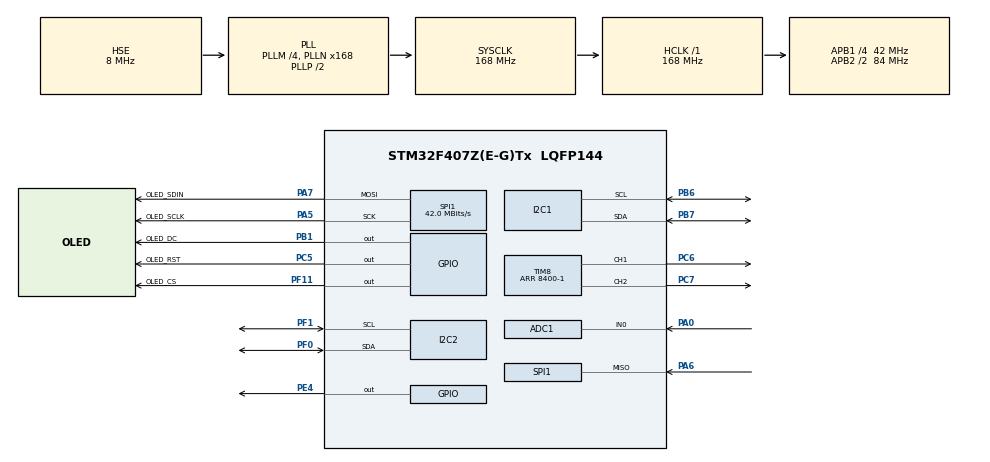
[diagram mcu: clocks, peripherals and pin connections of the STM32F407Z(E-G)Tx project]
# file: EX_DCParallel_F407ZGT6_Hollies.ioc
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ADC1.Channel-0\#ChannelRegularConversion=ADC_CHANNEL_0
ADC1.ContinuousConvMode=ENABLE
ADC1.DMAContinuousRequests=ENABLE
ADC1.NbrOfConversion=1
ADC1.NbrOfConversionFlag=1
ADC1.Rank-0\#ChannelRegularConversion=1
ADC1.SamplingTime-0\#ChannelRegularConversion=ADC_SAMPLETIME_28CYCLES
ADC1.master=1
Dma.ADC1.0.Direction=DMA_PERIPH_TO_MEMORY
Dma.ADC1.0.FIFOMode=DMA_FIFOMODE_DISABLE
Dma.ADC1.0.Instance=DMA2_Stream0
Dma.ADC1.0.MemDataAlignment=DMA_MDATAALIGN_WORD
Dma.ADC1.0.MemInc=DMA_MINC_ENABLE
Dma.ADC1.0.Mode=DMA_CIRCULAR
Dma.ADC1.0.PeriphDataAlignment=DMA_PDATAALIGN_WORD
Dma.ADC1.0.PeriphInc=DMA_PINC_DISABLE
Dma.ADC1.0.Priority=DMA_PRIORITY_LOW
Dma.Request0=ADC1
Mcu.Family=STM32F4
Mcu.Name=STM32F407Z(E-G)Tx
Mcu.Package=LQFP144
NVIC.DMA2_Stream0_IRQn=true\:0\:0\:false\:false\:true\:false\:true\:true
NVIC.PriorityGroup=NVIC_PRIORITYGROUP_4
NVIC.TIM1_UP_TIM10_IRQn=true\:0\:0\:false\:false\:true\:true\:true\:true
PA0-WKUP.Signal=ADCx_IN0
PA13.Mode=Serial_Wire
PA13.Signal=SYS_JTMS-SWDIO
PA14.Mode=Serial_Wire
PA14.Signal=SYS_JTCK-SWCLK
PA5.GPIO_Label=OLED_SCLK
PA5.Mode=Full_Duplex_Master
PA5.Signal=SPI1_SCK
PA6.Mode=Full_Duplex_Master
PA6.Signal=SPI1_MISO
PA7.GPIO_Label=OLED_SDIN
PA7.Mode=Full_Duplex_Master
PA7.Signal=SPI1_MOSI
PB1.GPIO_Label=OLED_DC
PB1.Signal=GPIO_Output
PB6.Mode=I2C
PB6.Signal=I2C1_SCL
PB7.Mode=I2C
PB7.Signal=I2C1_SDA
PC14-OSC32_IN.Mode=LSE-External-Oscillator
PC14-OSC32_IN.Signal=RCC_OSC32_IN
PC15-OSC32_OUT.Mode=LSE-External-Oscillator
PC15-OSC32_OUT.Signal=RCC_OSC32_OUT
PC5.GPIO_Label=OLED_RST
PC5.Signal=GPIO_Output
PC6.Signal=S_TIM8_CH1
PC7.Signal=S_TIM8_CH2
PE4.GPIO_PuPd=GPIO_PULLUP
PE4.PinState=GPIO_PIN_SET
PE4.Signal=GPIO_Output
PF0.Mode=I2C
PF0.Signal=I2C2_SDA
PF1.Mode=I2C
PF1.Signal=I2C2_SCL
PF11.GPIO_Label=OLED_CS
PF11.Signal=GPIO_Output
PH0-OSC_IN.Mode=HSE-External-Oscillator
PH0-OSC_IN.Signal=RCC_OSC_IN
PH1-OSC_OUT.Mode=HSE-External-Oscillator
PH1-OSC_OUT.Signal=RCC_OSC_OUT
ProjectManager.HeapSize=0x200
ProjectManager.StackSize=0x400
ProjectManager.TargetToolchain=STM32CubeIDE
RCC.48MHZClocksFreq_Value=84000000
RCC.AHBFreq_Value=168000000
RCC.APB1CLKDivider=RCC_HCLK_DIV4
RCC.APB1Freq_Value=42000000
RCC.APB1TimFreq_Value=84000000
RCC.APB2CLKDivider=RCC_HCLK_DIV2
RCC.APB2Freq_Value=84000000
RCC.APB2TimFreq_Value=168000000
RCC.CortexFreq_Value=168000000
RCC.HCLKFreq_Value=168000000
RCC.HSE_VALUE=8000000
RCC.HSI_VALUE=16000000
RCC.PLLM=4
RCC.PLLN=168
RCC.PLLSourceVirtual=RCC_PLLSOURCE_HSE
RCC.SYSCLKFreq_VALUE=168000000
RCC.SYSCLKSource=RCC_SYSCLKSOURCE_PLLCLK
RCC.VCOOutputFreq_Value=336000000
SH.ADCx_IN0.0=ADC1_IN0,IN0
SH.S_TIM8_CH1.0=TIM8_CH1,PWM Generation1 CH1
SH.S_TIM8_CH2.0=TIM8_CH2,PWM Generation2 CH2
SPI1.BaudRatePrescaler=SPI_BAUDRATEPRESCALER_2
SPI1.CLKPolarity=SPI_POLARITY_LOW
SPI1.CalculateBaudRate=42.0 MBits/s
SPI1.Direction=SPI_DIRECTION_2LINES
SPI1.Mode=SPI_MODE_MASTER
SPI1.VirtualType=VM_MASTER
TIM1.Period=8399
TIM1.Prescaler=0
TIM8.Channel-PWM\ Generation1\ CH1=TIM_CHANNEL_1
TIM8.Channel-PWM\ Generation2\ CH2=TIM_CHANNEL_2
TIM8.Period=8400-1
TIM8.Pulse-PWM\ Generation1\ CH1=3200
TIM8.Pulse-PWM\ Generation2\ CH2=3200
VP_TIM1_VS_ClockSourceINT.Mode=Internal
VP_TIM8_VS_ClockSourceINT.Mode=Internal
board=custom

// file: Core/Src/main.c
/* USER CODE BEGIN Header */
/**
 ******************************************************************************
 * @file           : main.c
 * @brief          : Main program body
 ******************************************************************************
 * @attention
 *
 * Copyright (c) 2023 STMicroelectronics.
 * All rights reserved.
 *
 * This software is licensed under terms that can be found in the LICENSE file
 * in the root directory of this software component.
 * If no LICENSE file comes with this software, it is provided AS-IS.
 *
 ******************************************************************************
 */
/* USER CODE END Header */
#include "main.h"
#include "adc.h"
#include "dma.h"
#include "i2c.h"
#include "spi.h"
#include "tim.h"
#include "gpio.h"

/* USER CODE BEGIN Includes */
#include "oled_spi.h"
#include "ina238.h"
#include "pid.h"
#include "math.h"
/* USER CODE END Includes */

void SystemClock_Config(void);

/* USER CODE BEGIN 0 */
#define BATCH_DATA_LEN 12
float M = 1 / 3;	//电流比例

uint32_t dmaDataBuffer[BATCH_DATA_LEN];
uint16_t p_count = 0 , p_count1 = 0;
float u1 = 0,u1_sum = 0,u1_show = 0;
void LED_Show()
{
	OLED_ShowNum(0, 0, INA238_getVolt(&hi2c1) * 1000, 5, 16);
	int i = INA238_getCurrent(&hi2c1) * 1000;
	if (i >= 0)
	{
		uint32_t t = i;
		OLED_ShowNum(0, 2, t, 4, 16);
	}
	else
	{
		uint32_t t = -i;
		OLED_ShowString(0, 2, (uint8_t*)"-");
		OLED_ShowNum(8, 2, t, 4, 8);
	}

	OLED_ShowNum(0, 4, INA238_getVolt(&hi2c2) * 1000, 5, 16);
	i = INA238_getCurrent(&hi2c2) * 1000;
	if (i >= 0)
	{
		uint32_t t = i;
		OLED_ShowNum(0, 6, t, 4, 16);
	}
	else
	{
		uint32_t t = -i;
		OLED_ShowString(0, 6, (uint8_t*)"-");
		OLED_ShowNum(8, 6, t, 4, 8);
	}
	OLED_ShowNum(64, 0, TIM8->CCR1, 4, 16);
	OLED_ShowNum(64, 6, TIM8->CCR2, 4, 16);
}
void Scan_Key()
{
	while (HAL_GPIO_ReadPin(GPIOE, GPIO_PIN_3) == GPIO_PIN_RESET
			|| HAL_GPIO_ReadPin(GPIOE, GPIO_PIN_4) == GPIO_PIN_RESET)
	{
		HAL_Delay(10);	//去抖�?
		if (HAL_GPIO_ReadPin(GPIOE, GPIO_PIN_4) == GPIO_PIN_RESET)
		{
			while (HAL_GPIO_ReadPin(GPIOE, GPIO_PIN_4) == GPIO_PIN_RESET)
				;	//这句放在前为松开后执行，放在后为按下时执�?
			HAL_TIM_Base_Start_IT(&htim1);
		}
	}
}
#define ADC_SAMPLE_PNUM 12
//uint16_t AD_Value[6][2];
uint16_t ADC_Filter(uint8_t Channel)		//中位值平均滤波法（又称防脉冲干扰平均滤波法）
{
	uint8_t count, i, j;
	uint32_t sum = 0;
	uint16_t temp = 0;
	uint16_t tempbuf[ADC_SAMPLE_PNUM];
	for (i = 0; i < ADC_SAMPLE_PNUM; i++)
	{
		tempbuf[i] = dmaDataBuffer[i];
	}
	for (j = 0; j < ADC_SAMPLE_PNUM; j++)     //冒泡�???
	{
		for (i = j; i < ADC_SAMPLE_PNUM; i++)
		{
			if (tempbuf[i] > tempbuf[j])
			{
				temp = tempbuf[i];
				tempbuf[i] = tempbuf[j];
				tempbuf[j] = temp;
			}
		}
	}
	for (count = 1; count < ADC_SAMPLE_PNUM - 1; count++)
		sum = sum + tempbuf[count];
	return (sum / (ADC_SAMPLE_PNUM - 2));
}

/* USER CODE END 0 */

int main(void)
{

  /* MCU Configuration--------------------------------------------------------*/

  /* Reset of all peripherals, Initializes the Flash interface and the Systick. */
  HAL_Init();

  /* Configure the system clock */
  SystemClock_Config();

  /* Initialize all configured peripherals */
  MX_GPIO_Init();
  MX_DMA_Init();
  MX_I2C1_Init();
  MX_I2C2_Init();
  MX_TIM1_Init();
  MX_TIM8_Init();
  MX_SPI1_Init();
  MX_ADC1_Init();
  /* USER CODE BEGIN 2 */
	OLED_Init();
	HAL_ADC_Start_DMA(&hadc1, dmaDataBuffer ,BATCH_DATA_LEN);
	HAL_TIM_Base_Start_IT(&htim1);
	HAL_TIM_Base_Start(&htim8);
	HAL_TIM_PWM_Start(&htim8, TIM_CHANNEL_1);
	HAL_TIM_PWM_Start(&htim8, TIM_CHANNEL_2);
	INA238_init(&hi2c1, -100);
//	INA238_init(&hi2c2, 90);
	PID_Init();
	OLED_Clear();
  /* USER CODE END 2 */

  /* Infinite loop */
	while (1)
	{

    /* USER CODE BEGIN 3 */
//
//		LED_Show();
//		Scan_Key();
		HAL_Delay(10);
//		OLED_Clear();
		OLED_ShowNum(0, 0, u1_show*1000000, 12, 16);
		OLED_ShowNum(0, 2, (float) INA238_getVolt(&hi2c1)*1000000, 12, 16);
//		OLED_ShowNum(0, 0, u1_show, 12, 16);
	}
  /* USER CODE END 3 */
}

void SystemClock_Config(void)
{
  RCC_OscInitTypeDef RCC_OscInitStruct = {0};
  RCC_ClkInitTypeDef RCC_ClkInitStruct = {0};

  /** Configure the main internal regulator output voltage
  */
  __HAL_RCC_PWR_CLK_ENABLE();
  __HAL_PWR_VOLTAGESCALING_CONFIG(PWR_REGULATOR_VOLTAGE_SCALE1);

  /** Initializes the RCC Oscillators according to the specified parameters
  * in the RCC_OscInitTypeDef structure.
  */
  RCC_OscInitStruct.OscillatorType = RCC_OSCILLATORTYPE_HSE;
  RCC_OscInitStruct.HSEState = RCC_HSE_ON;
  RCC_OscInitStruct.PLL.PLLState = RCC_PLL_ON;
  RCC_OscInitStruct.PLL.PLLSource = RCC_PLLSOURCE_HSE;
  RCC_OscInitStruct.PLL.PLLM = 4;
  RCC_OscInitStruct.PLL.PLLN = 168;
  RCC_OscInitStruct.PLL.PLLP = RCC_PLLP_DIV2;
  RCC_OscInitStruct.PLL.PLLQ = 4;
  if (HAL_RCC_OscConfig(&RCC_OscInitStruct) != HAL_OK)
  {
    Error_Handler();
  }

  /** Initializes the CPU, AHB and APB buses clocks
  */
  RCC_ClkInitStruct.ClockType = RCC_CLOCKTYPE_HCLK|RCC_CLOCKTYPE_SYSCLK
                              |RCC_CLOCKTYPE_PCLK1|RCC_CLOCKTYPE_PCLK2;
  RCC_ClkInitStruct.SYSCLKSource = RCC_SYSCLKSOURCE_PLLCLK;
  RCC_ClkInitStruct.AHBCLKDivider = RCC_SYSCLK_DIV1;
  RCC_ClkInitStruct.APB1CLKDivider = RCC_HCLK_DIV4;
  RCC_ClkInitStruct.APB2CLKDivider = RCC_HCLK_DIV2;

  if (HAL_RCC_ClockConfig(&RCC_ClkInitStruct, FLASH_LATENCY_5) != HAL_OK)
  {
    Error_Handler();
  }
}

/* USER CODE BEGIN 4 */
void HAL_TIM_PeriodElapsedCallback(TIM_HandleTypeDef *htim)
{
	if (htim->Instance == TIM1)
	{
		u1 = 0.02143/1.2391*ADC_Filter(0);
		u1_sum += u1;
		p_count++;
		p_count1++;
		if(p_count == 8000)
		{
			p_count = 0;
			u1_show = u1_sum * 0.000125;
			u1_sum = 0;
		}
	}
}
/* USER CODE END 4 */

void Error_Handler(void)
{
	__disable_irq();
	while (1)
	{
	}
}
